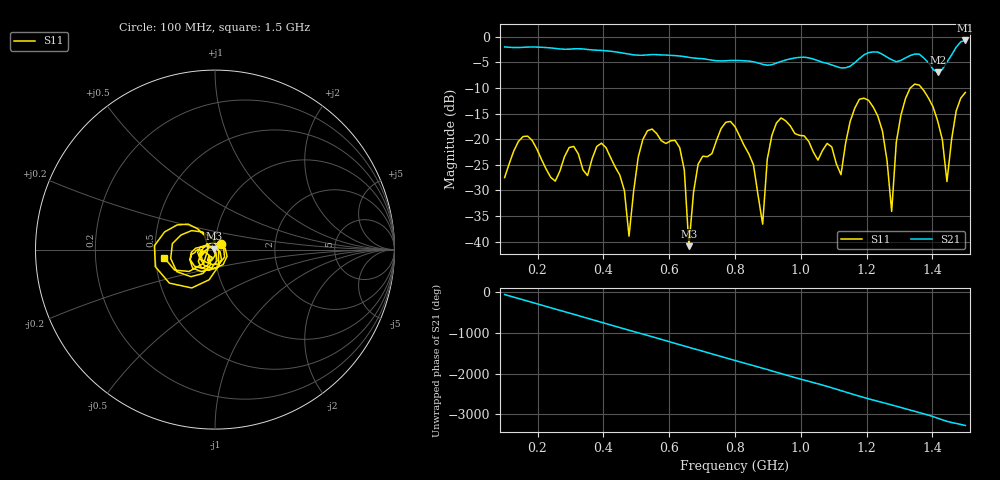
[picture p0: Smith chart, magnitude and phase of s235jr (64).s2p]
! NanoVNA-App
! Date: 2025-09-25 15:04:39
! Start: 100MHz Stop: 1,5GHz Points: 101
! S-Parameter data: F S11 S21 S12 S22
# Hz S RI R 50
!  Frequency  S11_Real  S11_Imag  S21_Real  S21_Imag  S12_Real  S12_Imag  S22_Real  S22_Imag
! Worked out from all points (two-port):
!   101 points, 100 MHz to 1.5 GHz, reference 50 ohm
!   highest |S21| = -0.70 dB at 1.5 GHz (marker M1); lowest = -7.0 dB at 1.416 GHz (marker M2)
!   |S21| within 3 dB of the highest: start of sweep to 625.5 MHz; 1.188 GHz to 1.255 GHz (67.01 MHz wide, 5.48 % of centre) (the widest 2 of 4)
!   lowest |S11| = -40.9 dB at 660 MHz (marker M3), VSWR 1.02, Z = 49.3 + j0.562 ohm
!   |S11| at or under -10 dB: start of sweep to 1.332 GHz; 1.367 GHz to end of sweep
!   S12 and S22 are empty: the file has one direction only
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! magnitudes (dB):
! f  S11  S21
! 100 MHz  -27.5  -2.0
! 170 MHz  -19.4  -2.0
! 338 MHz  -26.0  -2.4
! 408 MHz  -21.6  -2.7
! 478 MHz  -38.9  -3.4
! 520 MHz  -20.0  -3.6
! 576 MHz  -20.3  -3.5
! 632 MHz  -21.6  -3.7
! 660 MHz  -40.9  -4.0
! 688 MHz  -24.9  -4.2
! 800 MHz  -17.5  -4.6
! 884 MHz  -36.6  -5.4
! 926 MHz  -16.8  -5.1
! 1.038 GHz  -22.5  -4.3
! 1.122 GHz  -26.9  -6.1
! 1.206 GHz  -12.4  -3.1
! 1.276 GHz  -34.1  -4.5
! 1.29 GHz  -20.6  -4.9
! 1.332 GHz  -10.0  -3.6
! 1.416 GHz  -16.5  -7.0
! 1.444 GHz  -28.3  -4.9
! 1.5 GHz  -10.8  -0.7
